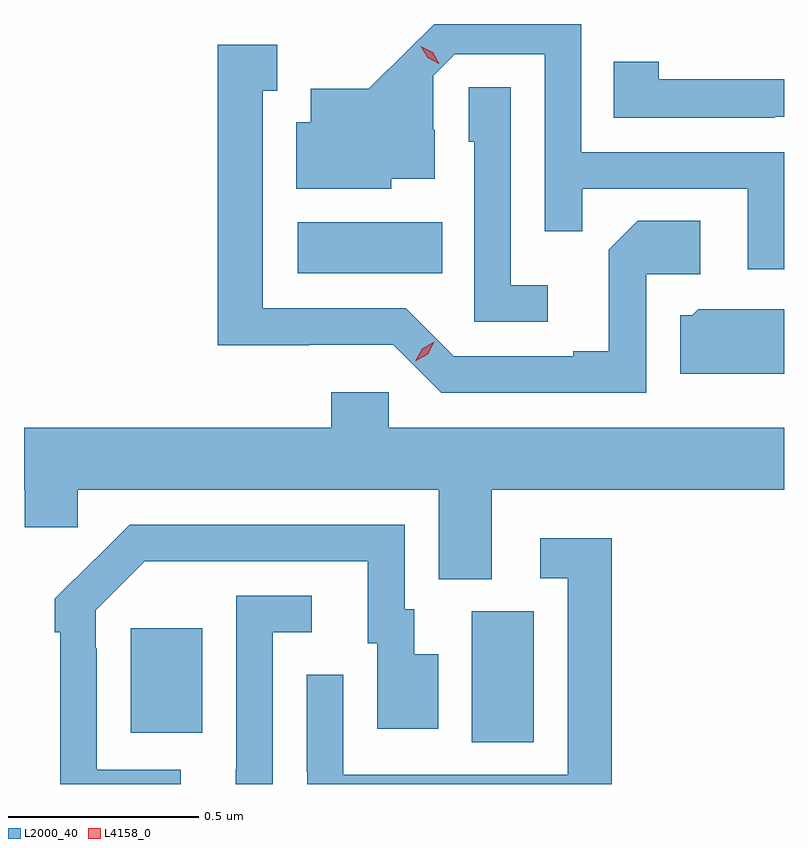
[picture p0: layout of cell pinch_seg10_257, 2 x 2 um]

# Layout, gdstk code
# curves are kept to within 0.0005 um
import gdstk
lib = gdstk.Library(unit=1e-6, precision=1e-09)
def R(c, l, rs):  # rectangles x0, y0, x1, y1
    for r in rs: c.add(gdstk.rectangle(r[:2], r[2:], *l))
def P(c, l, *ps):  # polygons
    for p in ps: c.add(gdstk.Polygon(p, *l))
L2000_40 = (2000, 40)
L4158_0 = (4158, 0)

pinch_seg10_257 = lib.new_cell('pinch_seg10_257')
R(pinch_seg10_257, L2000_40, [(594.266,1306.312,594.43,1306.656), (593.369,1306.337,593.557,1306.612), (593.808,1307.546,594.188,1307.68)])
P(pinch_seg10_257, L2000_40, [(595.088,1307.865),(594.555,1307.865),(594.555,1308.202),(594.168,1308.202),(593.995,1308.031),(593.843,1308.031),(593.843,1307.944),(593.804,1307.944),(593.804,1307.768),(594.054,1307.768),(594.054,1307.795),(594.169,1307.795),(594.169,1307.924),(594.165,1307.924),(594.165,1308.066),(594.222,1308.123),(594.459,1308.123),(594.459,1307.656),(594.557,1307.656),(594.557,1307.769),(594.993,1307.769),(594.993,1307.556),(595.088,1307.556)],
  [(594.726,1307.544),(594.868,1307.544),(594.868,1307.684),(594.703,1307.684),(594.627,1307.608),(594.627,1307.341),(594.533,1307.341),(594.533,1307.328),(594.219,1307.328),(594.093,1307.454),(593.716,1307.454),(593.716,1308.027),(593.755,1308.027),(593.755,1308.148),(593.598,1308.148),(593.598,1307.357),(593.838,1307.357),(593.838,1307.358),(594.06,1307.358),(594.186,1307.232),(594.726,1307.232)],
  [(595.064,1307.958),(595.088,1307.958),(595.088,1308.056),(594.759,1308.056),(594.759,1308.103),(594.64,1308.103),(594.64,1307.955),(595.064,1307.955)],
  [(594.466,1307.515),(594.369,1307.515),(594.369,1308.035),(594.258,1308.035),(594.258,1307.892),(594.273,1307.892),(594.273,1307.418),(594.466,1307.418)],
  [(595.088,1307.451),(594.996,1307.451),(594.996,1307.452),(594.862,1307.452),(594.846,1307.436),(594.815,1307.436),(594.815,1307.282),(595.088,1307.282)],
  [(594.319,1306.976),(595.088,1306.976),(595.088,1307.14),(594.048,1307.14),(594.048,1307.233),(593.897,1307.233),(593.897,1307.14),(593.088,1307.14),(593.088,1306.976),(593.09,1306.976),(593.09,1306.878),(593.229,1306.878),(593.229,1306.976),(594.179,1306.976),(594.179,1306.741),(594.319,1306.741)],
  [(593.5,1306.239),(593.28,1306.239),(593.28,1306.559),(593.277,1306.559),(593.277,1306.659),(593.406,1306.788),(593.993,1306.788),(593.993,1306.572),(594.017,1306.572),(594.017,1306.347),(594.178,1306.347),(594.178,1306.543),(594.115,1306.543),(594.115,1306.662),(594.09,1306.662),(594.09,1306.884),(593.366,1306.884),(593.275,1306.793),(593.274,1306.794),(593.169,1306.689),(593.169,1306.601),(593.184,1306.601),(593.184,1306.202),(593.5,1306.202)],
  [(594.635,1306.849),(594.447,1306.849),(594.447,1306.743),(594.519,1306.743),(594.519,1306.227),(593.928,1306.227),(593.928,1306.489),(593.832,1306.489),(593.832,1306.234),(593.833,1306.234),(593.833,1306.202),(594.635,1306.202)],
  [(593.742,1306.602),(593.845,1306.602),(593.845,1306.698),(593.646,1306.698),(593.646,1306.241),(593.645,1306.241),(593.645,1306.202),(593.742,1306.202)])
P(pinch_seg10_257, L4158_0, [(594.18,1308.098),(594.15,1308.113),(594.132,1308.143),(594.132,1308.143),(594.132,1308.143),(594.163,1308.128),(594.181,1308.098),(594.181,1308.098)],
  [(594.118,1307.315),(594.118,1307.315),(594.136,1307.347),(594.168,1307.366),(594.168,1307.366),(594.168,1307.366),(594.15,1307.333),(594.118,1307.315)])

lib.write_gds('pinch_seg10_257.gds')
